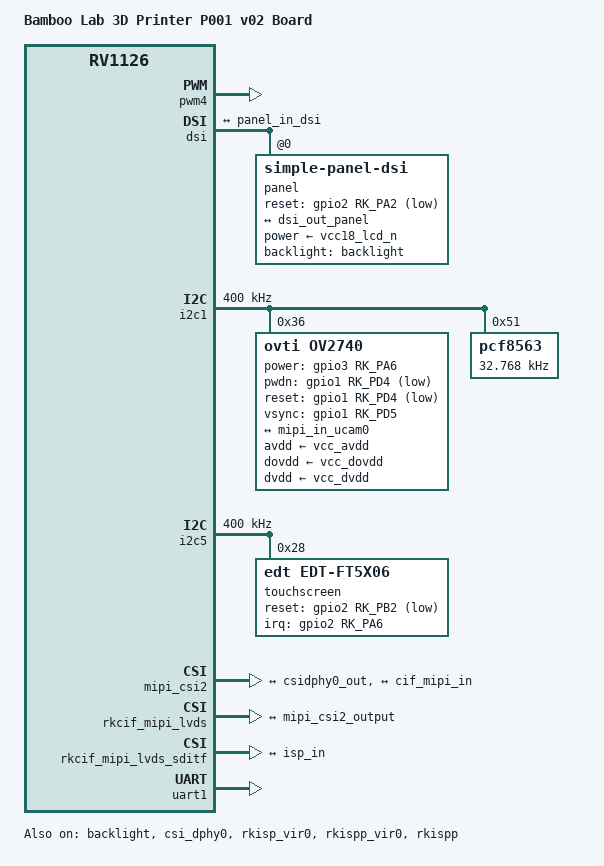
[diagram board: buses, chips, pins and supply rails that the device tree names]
// SPDX-License-Identifier: (GPL-2.0+ OR MIT)
/*
 * Copyright (c) 2020 Rockchip Electronics Co., Ltd.
 */
/dts-v1/;
#include "rv1126.dtsi"
#include "rv1126-bl-p001-v2.dtsi"
/ {
	model = "Bamboo Lab 3D Printer P001 v02 Board";
	compatible = "rockchip,rv1126";

	chosen {
		bootargs = "earlycon=uart8250,mmio32,0xff570000 console=ttyFIQ0 root=PARTUUID=614e0000-0000 rootfstype=ext4 rootwait snd_aloop.index=7";
	};
};

&pinctrl {
    lcd_rst {
        lcd_rst_gpio: lcd-rst-gpio {
            rockchip,pins = <2 RK_PA2 RK_FUNC_GPIO &pcfg_pull_none>;
        };
    };

	touth_panel {
		pinctrl_edt_ft5x06: pinctrl_edt_ft5x06 {
			rockchip,pins =
				/* tp rst */
				<2 RK_PB2 RK_FUNC_GPIO &pcfg_pull_up>,
				/* tp int */
				<2 RK_PA6 RK_FUNC_GPIO &pcfg_pull_up>;
		};
	};
};

&pwm4 {
	status = "okay";
	pinctrl-names = "active";
	pinctrl-0 = <&pwm4m1_pins_pull_down>;
};

&backlight {
	status = "okay";
    pwms = <&pwm4 0 25000 0>;
	pwm-names = "backlight";
	enable-gpios = <&gpio1 RK_PD7 GPIO_ACTIVE_HIGH>;
};

&dsi {
	status = "okay";

    rockchip,lane-rate = <480>;
	panel@0 {
		compatible = "simple-panel-dsi";
		reg = <0>;
		backlight = <&backlight>;
		power-supply = <&vcc18_lcd_n>;
		prepare-delay-ms = <5>;
		reset-delay-ms = <1>;
		init-delay-ms = <80>;
		disable-delay-ms = <10>;
		unprepare-delay-ms = <5>;

        reset-gpios = <&gpio2 RK_PA2 GPIO_ACTIVE_LOW>;
        pinctrl-names = "default";
        pinctrl-0 = <&lcd_rst_gpio>;

		width-mm = <68>;
		height-mm = <121>;

		dsi,flags = <(MIPI_DSI_MODE_VIDEO | MIPI_DSI_MODE_VIDEO_BURST |
			      MIPI_DSI_MODE_LPM | MIPI_DSI_MODE_EOT_PACKET)>;
		dsi,format = <MIPI_DSI_FMT_RGB888>;
		dsi,lanes = <4>;

        panel-init-sequence = [
			39 00 03 E0 AB BA
			39 00 03 E1 BA AB
			39 00 05 B1 10 01 47 FF
			39 00 07 B2 0C 14 04 50 50 14
			39 00 04 B3 56 52 00
			39 00 04 B4 33 30 04
			39 00 08 B6 B0 00 00 10 00 10 00
			39 00 08 B8 05 12 29 49 48 00 00
			39 00 27 B9 7C 5E 4D 40 3F 31 38 25 40 41 41 60 4D 55 47 44 36 24 06 7C 5E 4D 40 3F 31 38 25 40 41 41 60 4D 55 47 44 36 24 06
			39 00 11 C0 98 76 12 34 33 33 33 33 10 04 90 04 0F 00 00 C1
			39 00 0B C1 53 94 02 89 10 04 90 04 54 00
			39 00 0D C2 37 09 08 89 08 11 22 20 44 BB 18 00
			39 00 17 C3 9C 5D 1E 1F 10 12 0C 0E 04 02 02 02 02 02 02 06 00 00 00 02 02 02
			39 00 17 C4 1C 1D 1E 1F 11 13 0D 0F 05 02 02 02 02 02 02 07 00 00 00 02 02 02
			39 00 03 C6 60 60
			39 00 07 C8 11 00 31 42 34 16
			39 00 03 CA CB 43
			39 00 09 CD 0E 68 68 20 14 6B 06 B3
			39 00 05 D2 E3 2B 38 00
			39 00 0C D4 00 01 00 0E 04 44 08 10 00 00 00
			39 00 09 E6 00 01 FF FF FF FF FF FF
			39 00 06 F0 12 03 20 00 FF
			39 00 02 F3 00
			05 96 01 11
			05 14 01 29
			];

        display-timings {
			native-mode = <&timing0>;

			timing0: timing0 {
				clock-frequency = <71000000>;
				hactive = <720>;
				vactive = <1280>;
				hfront-porch = <80>;
				hsync-len = <20>;
				hback-porch = <80>;
				vfront-porch = <20>;
				vsync-len = <4>;
				vback-porch = <12>;
				hsync-active = <0>;
				vsync-active = <0>;
				de-active = <0>;
				pixelclk-active = <0>;
			};
		};

		ports {
			#address-cells = <1>;
			#size-cells = <0>;

			port@0 {
				reg = <0>;
				panel_in_dsi: endpoint {
					remote-endpoint = <&dsi_out_panel>;
				};
			};
		};
	};

	ports {
		#address-cells = <1>;
		#size-cells = <0>;

		port@1 {
			reg = <1>;
			dsi_out_panel: endpoint {
				remote-endpoint = <&panel_in_dsi>;
			};
		};
	};

};

&csi_dphy0 {
	status = "okay";
	ports {
		port@0 {
			mipi_in_ucam0: endpoint@1 {
				remote-endpoint = <&ucam_out0>;
				data-lanes = <1 2>;
			};
		};
		port@1 {
			csidphy0_out: endpoint@0 {
				remote-endpoint = <&mipi_csi2_input>;
				data-lanes = <1 2>;
			};
		};
	};
};

&csi_dphy1 {
	status = "disabled";
};

&i2c1 {
	status = "okay";
	clock-frequency = <400000>;

	ov2740: ov2740@36 {
		compatible = "ovti,ov2740";
		reg = <0x36>;

		clocks = <&cru CLK_MIPICSI_OUT>;
		clock-names = "xvclk";

		power-domains = <&power RV1126_PD_VI>;
		pinctrl-names = "rockchip,camera_default";
		pinctrl-0 = <&mipicsi_clk0>;
		power-gpios = <&gpio3 RK_PA6 GPIO_ACTIVE_HIGH>;
		pwdn-gpios = <&gpio1 RK_PD4 GPIO_ACTIVE_LOW>;
		reset-gpios = <&gpio1 RK_PD4 GPIO_ACTIVE_LOW>;
		vsync-gpios = <&gpio1 RK_PD5 GPIO_ACTIVE_HIGH>;

		avdd-supply = <&vcc_avdd>;
		dovdd-supply = <&vcc_dovdd>;
		dvdd-supply = <&vcc_dvdd>;

		rockchip,camera-module-index = <0>;
		rockchip,camera-module-facing = "front";
		rockchip,camera-module-name = "YT-RV1109-2-V1";
		rockchip,camera-module-lens-name = "40IR-2MP-F20";
		port {
			ucam_out0: endpoint {
				remote-endpoint = <&mipi_in_ucam0>;
				data-lanes = <1 2>;
			};
		};
	};

	pcf8563: pcf8563@51 {
		compatible = "pcf8563";
		reg = <0x51>;
		#clock-cells = <0>;
		clock-frequency = <32768>;
		clock-output-names = "xin32k";
	};
};

&i2c5 {
	status = "okay";
	pinctrl-0 = <&i2c5m2_xfer>;
	clock-frequency = <400000>;

	touchscreen@28 {
		compatible = "edt,edt-ft5x06";
		reg = <0x28>;
		pinctrl-names = "default";
		pinctrl-0 = <&pinctrl_edt_ft5x06>;
		interrupt-parent = <&gpio2>;
		interrupts = <RK_PA6 IRQ_TYPE_EDGE_FALLING>;
		reset-gpios = <&gpio2 RK_PB2 GPIO_ACTIVE_LOW>;
		touchscreen-size-x = <720>;
		touchscreen-size-y = <1280>;

	};
};

/* isp cma buffer don't fiddle with it, dual camera(1920 * 1080) need 92M buffer */
&isp_reserved {
    size = <0x5c00000>;
};

&mipi_csi2 {
	status = "okay";
	ports {
		port@0 {
			mipi_csi2_input: endpoint@1 {
				remote-endpoint = <&csidphy0_out>;
				data-lanes = <1 2>;
			};
		};

		port@1 {
			mipi_csi2_output: endpoint@0 {
				remote-endpoint = <&cif_mipi_in>;
				data-lanes = <1 2>;
			};
		};
	};
};

&rkcif_mipi_lvds {
	status = "okay";
	port {
		cif_mipi_in: endpoint {
			remote-endpoint = <&mipi_csi2_output>;
			data-lanes = <1 2>;
		};
	};
};

&rkcif_mipi_lvds_sditf {
	status = "okay";

	port {
		cif_sditf: endpoint {
			remote-endpoint = <&isp_in>;
			data-lanes = <1 2 3 4>;
		};
	};
};

&rkisp_vir0 {
	status = "okay";
	ports {
		port@0 {
			isp_in: endpoint@0 {
				remote-endpoint = <&cif_sditf>;
			};
		};
	};
};

&rkisp_vir1 {
	status = "disabled";
};

&rkispp_vir1 {
	status = "disabled";
};

&rkispp_vir0 {
	status = "okay";
};

&rkispp {
	status = "okay";
	/* the max input w h and fps of mulit sensor */
	max-input = <1920 1080 30>;
};

&uart1 {
    status = "okay";
    pinctrl-names = "default";
    dma-names = "tx", "rx";
    pinctrl-0 = <&uart1m0_xfer>;
};

